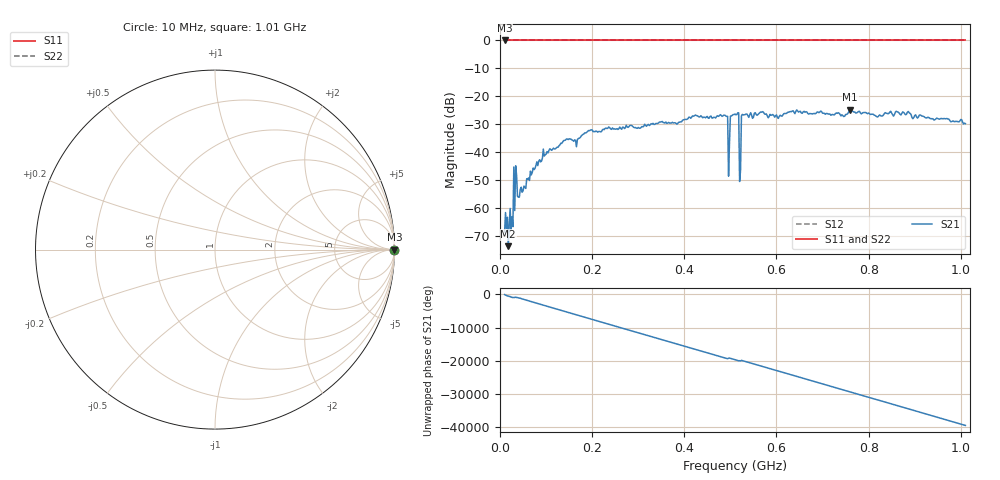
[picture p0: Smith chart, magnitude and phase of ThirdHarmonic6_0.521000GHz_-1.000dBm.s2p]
! 8/15/2025 4:03:42 PM
! C:\ANRITSUVNA\TEMP\TEMP.S2P
! CHANNEL.1
! TR.MEASUREMENT
! RAW.DATA
! RF.CORRECTION.OFF
! AVERAGING.OFF
! IF.BANDWIDTH: 5KHZ
! SWEEPTYPE:  FREQ.SWEEP(Linear)
! Reference Plane Port Info
! PORT:  PORT1  PORT2
! DISTANCE:  0  m  0  m
! TIME:  0  s  0  s
! PHASE.OFFSET:  0  deg.  0  deg.
! LOSS:  0  dB  0  dB
! REF.LOSS:  0  dB  0  dB
! REF.FREQ:  0  Hz  0  Hz
! Power Info
! POWER:  -20  dBm  -20  dBm
! EFF.POWER:  -20  dBm  -20  dBm
! SOURCE.ATTEN:  0  dB  0  dB
! TEST.ATTEN:  0  dB  0  dB
# GHZ S RI R 50.0
! FREQ.GHZ  S11RE  S11IM  S21RE  S21IM  S12RE  S12IM  S22RE  S22IM
!; PortSelection: Port_12
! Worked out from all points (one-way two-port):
!   501 points, 10 MHz to 1.01 GHz, reference 50 ohm
!   highest |S21| = -24.78 dB at 760 MHz (marker M1); lowest = -73.5 dB at 18 MHz (marker M2)
!   lowest |S11| = 0.0 dB at 10 MHz (marker M3)
!   |S11| at or under -10 dB: nowhere
!   |S22| runs from 0.0 to 0.0 dB; largest |S21 - S12| = 1.1
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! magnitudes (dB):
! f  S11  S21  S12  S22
! 10 MHz  0.0  -68.4  0.0  0.0
! 18 MHz  0.0  -73.5  0.0  0.0
! 24 MHz  0.0  -67.6  0.0  0.0
! 34 MHz  0.0  -44.8  0.0  0.0
! 42 MHz  0.0  -56.0  0.0  0.0
! 98 MHz  0.0  -40.9  0.0  0.0
! 178 MHz  0.0  -33.8  0.0  0.0
! 344 MHz  0.0  -29.5  0.0  0.0
! 490 MHz  0.0  -27.0  0.0  0.0
! 494 MHz  0.0  -27.1  0.0  0.0
! 498 MHz  0.0  -36.7  0.0  0.0
! 500 MHz  0.0  -27.0  0.0  0.0
! 504 MHz  0.0  -26.8  0.0  0.0
! 510 MHz  0.0  -26.3  0.0  0.0
! 514 MHz  0.0  -26.5  0.0  0.0
! 518 MHz  0.0  -25.9  0.0  0.0
! 524 MHz  0.0  -26.9  0.0  0.0
! 528 MHz  0.0  -26.6  0.0  0.0
! 678 MHz  0.0  -26.2  0.0  0.0
! 760 MHz  0.0  -24.8  0.0  0.0
! 844 MHz  0.0  -26.0  0.0  0.0
! 1.01 GHz  0.0  -29.7  0.0  0.0
